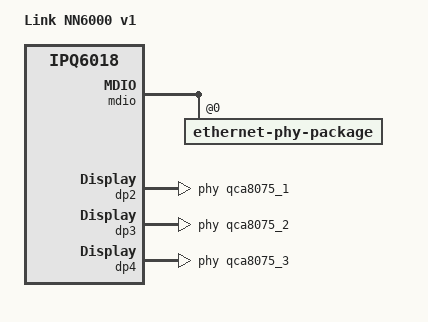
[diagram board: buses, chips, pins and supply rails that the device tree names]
// SPDX-License-Identifier: GPL-2.0-or-later OR MIT

/dts-v1/;

#include "ipq6000-link.dtsi"

/ {
	model = "Link NN6000 v1";
	compatible = "link,nn6000-v1", "qcom,ipq6018";

	aliases {
		ethernet1 = &dp2;
		ethernet2 = &dp3;
		ethernet3 = &dp4;
	};
};

&mdio {
	ethernet-phy-package@0 {
		qca8075_0: ethernet-phy@0 {
			status = "disabled";
		};

		qca8075_4: ethernet-phy@4 {
			status = "disabled";
		};
	};
};

&switch {
	switch_lan_bmp = <(ESS_PORT3 | ESS_PORT4)>;
	switch_wan_bmp = <ESS_PORT2>;

	qcom,port_phyinfo {
		port@1 {
			status = "disabled";
		};

		port@5 {
			status = "disabled";
		};
	};
};

&dp2 {
	status = "okay";
	phy-handle = <&qca8075_1>;
	label = "wan";
};

&dp3 {
	status = "okay";
	phy-handle = <&qca8075_2>;
	label = "lan1";
};

&dp4 {
	status = "okay";
	phy-handle = <&qca8075_3>;
	label = "lan2";
};
